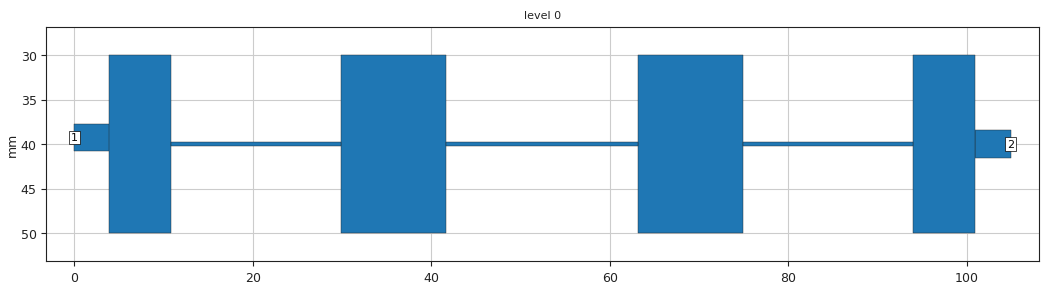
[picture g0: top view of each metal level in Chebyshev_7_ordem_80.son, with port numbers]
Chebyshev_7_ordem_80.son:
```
FTYP SONPROJ 13 ! Sonnet Project File
VER 15.53.lite
HEADER
LIC SL290709.106431 847bebfebdba DESKTOP-1CMJ3DP Arihe
DAT 06/09/2019 17:50:08
BUILT_BY_CREATED xgeom 15.53-Lite 04/13/2019 20:59:13
BUILT_BY_SAVED xgeom 15.53-Lite
MDATE 06/09/2019 17:50:08
HDATE 06/09/2019 17:50:08
END HEADER
DIM
FREQ GHZ
RSVY OHMM
IND NH
LNG MM
ANG DEG
CON /OH
CAP PF
RES OH
END DIM
FREQ
ABS 1.0e-9 3.0 
END FREQ
CONTROL
ABS
OPTIONS  -dj 
SPEED 0
CACHE_ABS 1
TARG_ABS 300
Q_ACC N
END CONTROL
GEO
DRP1 LEFT LINK
POLY 12 1
1
DRP1 RIGHT LINK
POLY 14 1
0
TMET "Lossless" 0 SUP 0 0 0 0
BMET "Lossless" 0 SUP 0 0 0 0
MET "Copper" 1 NOR 58000000 0 0.0347 
BOX 1 104.9 80 2098 320 20 0
      20 1 1 0 0 0 0 "Air"
      1.5306 4.1 1 0.02 0 0 0 "FR-4"
LORGN 0 80 U 
POR1 STD
POLY 12 1
3
1 50 0 0 0 -1.185917142e-009 39.25 
POR1 STD
POLY 14 1
1
2 50 0 0 0 104.9 40 
NUM 9
0 5 0 N 12 1 1 100 100 0 0 0 Y
-1.185917142e-009 37.7
3.999999998 37.7
3.999999998 40.8
-1.185917142e-009 40.8
-1.185917142e-009 37.7
END
0 5 0 N 14 1 1 100 100 0 0 0 Y
100.9 38.45
104.9 38.45
104.9 41.55
100.9 41.55
100.9 38.45
END
0 5 0 N 16 1 1 100 100 0 0 0 Y
3.899998018 30
10.79999802 30
10.79999802 50
3.899998018 50
3.899998018 30
END
0 5 0 N 17 1 1 100 100 0 0 0 Y
93.99999802 30
100.899998 30
100.899998 50
93.99999802 50
93.99999802 30
END
0 5 0 N 18 1 1 100 100 0 0 0 Y
29.89999802 30
41.59999802 30
41.59999802 50
29.89999802 50
29.89999802 30
END
0 5 0 N 19 1 1 100 100 0 0 0 Y
63.19999802 30
74.89999802 30
74.89999802 50
63.19999802 50
63.19999802 30
END
0 5 0 N 20 1 1 100 100 0 0 0 Y
10.79999802 39.75
29.89999802 39.75
29.89999802 40.25
10.79999802 40.25
10.79999802 39.75
END
0 5 0 N 21 1 1 100 100 0 0 0 Y
74.89999802 39.75
93.99999802 39.75
93.99999802 40.25
74.89999802 40.25
74.89999802 39.75
END
0 5 0 N 22 1 1 100 100 0 0 0 Y
41.59999802 39.75
63.19999802 39.75
63.19999802 40.25
41.59999802 40.25
41.59999802 39.75
END
END GEO
OPT
MAX 100
VARS
END
END OPT
VARSWP
END VARSWP
QSG
IMPORT NO
EXTRA_METAL NO
UNITS YES
ALIGN NO
REF NO
VIEW_RES NO
METALS YES
USED NO
END QSG
```
